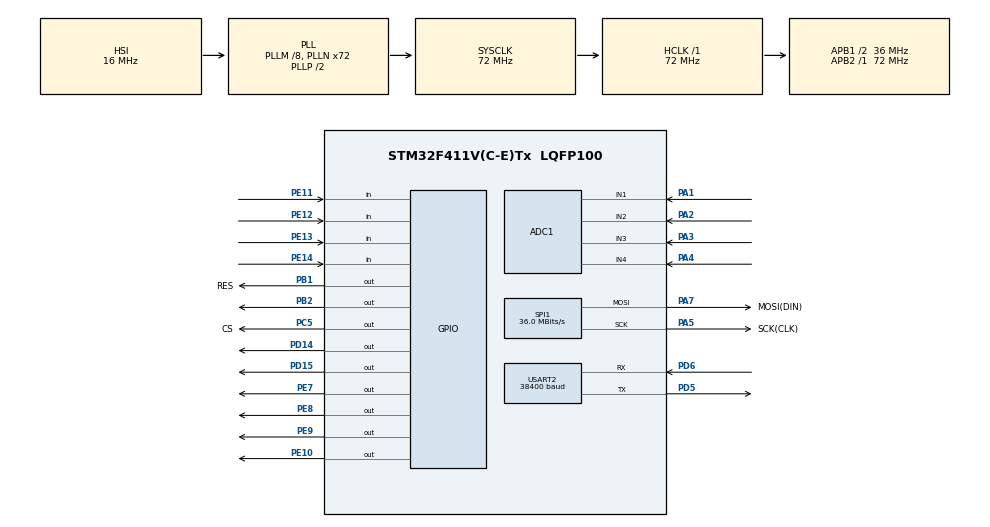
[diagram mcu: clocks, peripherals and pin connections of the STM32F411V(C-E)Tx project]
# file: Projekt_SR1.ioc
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ADC1.Channel-0\#ChannelRegularConversion=ADC_CHANNEL_1
ADC1.Channel-1\#ChannelRegularConversion=ADC_CHANNEL_2
ADC1.Channel-2\#ChannelRegularConversion=ADC_CHANNEL_3
ADC1.Channel-3\#ChannelRegularConversion=ADC_CHANNEL_4
ADC1.ClockPrescaler=ADC_CLOCK_SYNC_PCLK_DIV8
ADC1.ContinuousConvMode=ENABLE
ADC1.DMAContinuousRequests=ENABLE
ADC1.NbrOfConversion=4
ADC1.NbrOfConversionFlag=1
ADC1.Rank-0\#ChannelRegularConversion=1
ADC1.Rank-1\#ChannelRegularConversion=2
ADC1.Rank-2\#ChannelRegularConversion=3
ADC1.Rank-3\#ChannelRegularConversion=4
ADC1.SamplingTime-0\#ChannelRegularConversion=ADC_SAMPLETIME_480CYCLES
ADC1.SamplingTime-1\#ChannelRegularConversion=ADC_SAMPLETIME_480CYCLES
ADC1.SamplingTime-2\#ChannelRegularConversion=ADC_SAMPLETIME_480CYCLES
ADC1.SamplingTime-3\#ChannelRegularConversion=ADC_SAMPLETIME_480CYCLES
ADC1.ScanConvMode=ENABLE
ADC1.master=1
Dma.ADC1.0.Direction=DMA_PERIPH_TO_MEMORY
Dma.ADC1.0.FIFOMode=DMA_FIFOMODE_DISABLE
Dma.ADC1.0.Instance=DMA2_Stream0
Dma.ADC1.0.MemDataAlignment=DMA_MDATAALIGN_HALFWORD
Dma.ADC1.0.MemInc=DMA_MINC_ENABLE
Dma.ADC1.0.Mode=DMA_CIRCULAR
Dma.ADC1.0.PeriphDataAlignment=DMA_PDATAALIGN_HALFWORD
Dma.ADC1.0.PeriphInc=DMA_PINC_DISABLE
Dma.ADC1.0.Priority=DMA_PRIORITY_LOW
Dma.Request0=ADC1
Mcu.Family=STM32F4
Mcu.Name=STM32F411V(C-E)Tx
Mcu.Package=LQFP100
NVIC.DMA2_Stream0_IRQn=true\:0\:0\:false\:false\:true\:false\:true
NVIC.PriorityGroup=NVIC_PRIORITYGROUP_4
NVIC.TIM2_IRQn=true\:0\:0\:false\:false\:true\:true\:true
NVIC.TIM3_IRQn=true\:0\:0\:false\:false\:true\:true\:true
NVIC.USART2_IRQn=true\:0\:0\:false\:false\:true\:true\:true
PA1.Signal=ADCx_IN1
PA2.Signal=ADCx_IN2
PA3.Signal=ADCx_IN3
PA4.Signal=ADCx_IN4
PA5.GPIO_Label=SCK(CLK)
PA5.Mode=TX_Only_Simplex_Unidirect_Master
PA5.Signal=SPI1_SCK
PA7.GPIO_Label=MOSI(DIN)
PA7.Mode=TX_Only_Simplex_Unidirect_Master
PA7.Signal=SPI1_MOSI
PB1.GPIO_Label=RES
PB1.Signal=GPIO_Output
PB2.Signal=GPIO_Output
PC5.GPIO_Label=CS
PC5.Signal=GPIO_Output
PD14.Signal=GPIO_Output
PD15.Signal=GPIO_Output
PD5.Mode=Asynchronous
PD5.Signal=USART2_TX
PD6.Mode=Asynchronous
PD6.Signal=USART2_RX
PE10.GPIO_PuPd=GPIO_NOPULL
PE10.Signal=GPIO_Output
PE11.GPIO_PuPd=GPIO_PULLDOWN
PE11.Signal=GPIO_Input
PE12.GPIO_PuPd=GPIO_PULLDOWN
PE12.Signal=GPIO_Input
PE13.GPIO_PuPd=GPIO_PULLDOWN
PE13.Signal=GPIO_Input
PE14.GPIO_PuPd=GPIO_PULLDOWN
PE14.Signal=GPIO_Input
PE7.Signal=GPIO_Output
PE8.Signal=GPIO_Output
PE9.Signal=GPIO_Output
ProjectManager.HeapSize=0x200
ProjectManager.StackSize=0x400
ProjectManager.TargetToolchain=STM32CubeIDE
RCC.48MHZClocksFreq_Value=36000000
RCC.AHBFreq_Value=72000000
RCC.APB1CLKDivider=RCC_HCLK_DIV2
RCC.APB1Freq_Value=36000000
RCC.APB1TimFreq_Value=72000000
RCC.APB2Freq_Value=72000000
RCC.APB2TimFreq_Value=72000000
RCC.CortexFreq_Value=72000000
RCC.HCLKFreq_Value=72000000
RCC.HSE_VALUE=25000000
RCC.HSI_VALUE=16000000
RCC.LSE_VALUE=32768
RCC.PLLM=8
RCC.PLLN=72
RCC.SYSCLKFreq_VALUE=72000000
RCC.SYSCLKSource=RCC_SYSCLKSOURCE_PLLCLK
RCC.VCOOutputFreq_Value=144000000
SH.ADCx_IN1.0=ADC1_IN1,IN1
SH.ADCx_IN2.0=ADC1_IN2,IN2
SH.ADCx_IN3.0=ADC1_IN3,IN3
SH.ADCx_IN4.0=ADC1_IN4,IN4
SPI1.CalculateBaudRate=36.0 MBits/s
SPI1.Direction=SPI_DIRECTION_2LINES
SPI1.Mode=SPI_MODE_MASTER
SPI1.VirtualType=VM_MASTER
TIM2.Period=4999
TIM2.Prescaler=7199
TIM3.Period=7999
TIM3.Prescaler=7199
USART2.BaudRate=38400
USART2.VirtualMode=VM_ASYNC
VP_TIM2_VS_ClockSourceINT.Mode=Internal
VP_TIM3_VS_ClockSourceINT.Mode=Internal
board=custom

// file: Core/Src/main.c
/* USER CODE BEGIN Header */
/**
  ******************************************************************************
  * @file           : main.c
  * @brief          : Main program body
  ******************************************************************************
  * @attention
  *
  * <h2><center>&copy; Copyright (c) 2021 STMicroelectronics.
  * All rights reserved.</center></h2>
  *
  * This software component is licensed by ST under BSD 3-Clause license,
  * the "License"; You may not use this file except in compliance with the
  * License. You may obtain a copy of the License at:
  *                        opensource.org/licenses/BSD-3-Clause
  *
  ******************************************************************************
  */
/* USER CODE END Header */
#include "main.h"
#include "adc.h"
#include "dma.h"
#include "spi.h"
#include "tim.h"
#include "usart.h"
#include "gpio.h"

/* USER CODE BEGIN Includes */
#include <stdio.h>
#include <stdlib.h>
#include <Joystick.h>

#include "matrix_lib.h"
#include "Joystick.h"
#include "MY_FLASH.h"
#include "drawMenu.h"

/* USER CODE END Includes */

/* USER CODE BEGIN PTD */

/*move(uint8_t xCoord, uint8_t  yCoord)
{
	uint8_t angleRot;

	if(yCoord > yPos)
		angleRot = 0;
	if(yCoord < yPos)
		angleRot = 180;

	rotate(angleRot);
	drive(abs(yPos - yCoord));

	if(xCoord > xPos)
		angleRot = 270;
	if(xCoord < xPos)
		angleRot = 90;

	rotate(angleRot);
	drive(abs(xPos - xCoord));
}

drive(uint8_t distance)
{
	while(done <= distance)
	{

	}

}

*/

/* USER CODE END PTD */

/* USER CODE BEGIN PV */
uint8_t Received[21];
uint8_t testinkr = 0;
DMA_HandleTypeDef hdma_spi1_tx;
joystick joy;
int y_rect = 4, flagaTIM3;
int rectMode, toggle;
char buffer[100];//!!50
char buffer_test[50];
uint8_t Data[3];
joystick joy;

/* USER CODE END PV */

void SystemClock_Config(void);

/* USER CODE BEGIN 0 */
int _write(int file, char *ptr, int len) {
	HAL_UART_Transmit(&huart2, (uint8_t*)ptr, len, 50);
	return len;
}

void parse_ReceivedData()
{
	uint8_t id;
	int x = 0;
	char delim[] = ",";

	char *ptr = strtok(Received, delim);
	id = *ptr;

	if (id == 'c')
	{
		while (ptr != NULL)
		{
			ptr = strtok(NULL, delim);
			Data[x++] = atof(ptr);
		}

		for(int i=0;i<50;i++) Received[i] = NULL;
	}
}

void manualMode()
{
	uint8_t dirL, dirR;
	rectMode = 0;
	drawManualMode();
	 y_rect = 19;

	while(matrix_ReadKey() != 4)
	{
		if(matrix_ReadKey()== 3)
			y_rect = 19;

		if(matrix_ReadKey()==7)
			y_rect = 30;

		joystick_Control(&joy);

		if(y_rect == 30)
		{
			if(flagaTIM3)
			{
				sprintf(buffer,"r,%d,%d,%d,000000000\r", joy.sendJoy[0], joy.sendJoy[1], joy.sendJoy[3]);
				HAL_UART_Transmit(&huart2, buffer, strlen(buffer), 10);

				flagaTIM3 = 0 ;
			}
		}

		if(y_rect == 19)
		{
			if(flagaTIM3)
			{
				if(joy.sendJoy[1] < 4300) dirL = 1;
				else if(joy.sendJoy[1] > 4900) dirL = 2;
				else dirL = 0;

				if(joy.sendJoy[3] < 4300) dirR = 2;
				else if(joy.sendJoy[3] > 4900) dirR = 1;
				else dirR = 0;

				sprintf(buffer,"t,%i,%i,00000000000000000000\r", dirL, dirR);
				HAL_UART_Transmit(&huart2, buffer, strlen(buffer), 10);

				flagaTIM3 = 0 ;
			}
		}
	}
	drawMenu();
	rectMode = 0;
}

void seqMode()
{
	while(matrix_ReadKey()!= 4)
	{
		rectMode = 2;
		drawSeqMode(0);

		y_rect = 16;
		int chooseSeqMode;
		int seqCnt = 1;
		int seqNum;

		while(matrix_ReadKey()!= 4)
		{
			uint8_t coordX[6] = "";
			uint8_t coordY[6] = "";
			uint8_t coordZ[6] = "";

			int xRectCoord = 16;
			int yRectCoord = 16;
			int i = 0;
			int save = 0;

			if(matrix_ReadKey()== 3)
				 y_rect = 16;

			if(matrix_ReadKey()==7)
				 y_rect = 27;

			if (matrix_ReadKey() == 16)
			{
				if (y_rect == 16)
				{
					chooseSeqMode = 1;
				}

				else if (y_rect == 27)
				{
					chooseSeqMode = 2;
				}
			}

			if(chooseSeqMode == 1)
			{
				drawSeqMode(1);
				rectMode = 3;

				ssd1331_display_num(2, 37, seqCnt, 1, FONT_1206, BLUE);

				//X Coord
				while(matrix_ReadKey()!= 4)
				{
					if(i<6)
					{
						if(matrix_ReadKey() == 13) {coordX[i] = '.'; i++; ssd1331_fill_rect(xRectCoord, yRectCoord,6,10,BLACK);}
						if(matrix_ReadKey() == 3)  {coordX[i] = '1'; i++; ssd1331_fill_rect(xRectCoord, yRectCoord,6,10,BLACK);}
						if(matrix_ReadKey() == 7)  {coordX[i] = '2'; i++; ssd1331_fill_rect(xRectCoord, yRectCoord,6,10,BLACK);}
						if(matrix_ReadKey() == 11) {coordX[i] = '3'; i++; ssd1331_fill_rect(xRectCoord, yRectCoord,6,10,BLACK);}
						if(matrix_ReadKey() == 2)  {coordX[i] = '4'; i++; ssd1331_fill_rect(xRectCoord, yRectCoord,6,10,BLACK);}
						if(matrix_ReadKey() == 6)  {coordX[i] = '5'; i++; ssd1331_fill_rect(xRectCoord, yRectCoord,6,10,BLACK);}
						if(matrix_ReadKey() == 10) {coordX[i] = '6'; i++; ssd1331_fill_rect(xRectCoord, yRectCoord,6,10,BLACK);}
						if(matrix_ReadKey() == 1)  {coordX[i] = '7'; i++; ssd1331_fill_rect(xRectCoord, yRectCoord,6,10,BLACK);}
						if(matrix_ReadKey() == 5)  {coordX[i] = '8'; i++; ssd1331_fill_rect(xRectCoord, yRectCoord,6,10,BLACK);}
						if(matrix_ReadKey() == 9)  {coordX[i] = '9'; i++; ssd1331_fill_rect(xRectCoord, yRectCoord,6,10,BLACK);}
						if(matrix_ReadKey() == 14) {coordX[i] = '0'; i++; ssd1331_fill_rect(xRectCoord, yRectCoord,6,10,BLACK);}
						if(matrix_ReadKey() == 15) {coordX[i] = '-'; i++; ssd1331_fill_rect(xRectCoord, yRectCoord,6,10,BLACK);}
					}

					if(matrix_ReadKey() == 8){i--; coordX[i] = ' '; ssd1331_fill_rect(16,15,36,12,BLACK);}

					xRectCoord = i*6 + 16;
					ssd1331_display_string(16, 15, coordX, FONT_1206, GREEN);

					if (i <= 5) ssd1331_fill_rect(xRectCoord, yRectCoord,6,10,WHITE);

					if(matrix_ReadKey() == 12)
					{
						if (i <= 5) ssd1331_fill_rect(xRectCoord, yRectCoord,6,10,BLACK);

						for(;i< 6 ; i++) {coordX[i] = '0';}

						i = 0;
						break;
					}
				}

				//Y Coord
				xRectCoord = 64,
				yRectCoord = 16;

				while(matrix_ReadKey()!= 4)
				{
					if(i<6)
					{
						if(matrix_ReadKey() == 13) {coordY[i] = '.'; i++; ssd1331_fill_rect(xRectCoord, yRectCoord,6,10,BLACK);}
						if(matrix_ReadKey() == 3)  {coordY[i] = '1'; i++; ssd1331_fill_rect(xRectCoord, yRectCoord,6,10,BLACK);}
						if(matrix_ReadKey() == 7)  {coordY[i] = '2'; i++; ssd1331_fill_rect(xRectCoord, yRectCoord,6,10,BLACK);}
						if(matrix_ReadKey() == 11) {coordY[i] = '3'; i++; ssd1331_fill_rect(xRectCoord, yRectCoord,6,10,BLACK);}
						if(matrix_ReadKey() == 2)  {coordY[i] = '4'; i++; ssd1331_fill_rect(xRectCoord, yRectCoord,6,10,BLACK);}
						if(matrix_ReadKey() == 6)  {coordY[i] = '5'; i++; ssd1331_fill_rect(xRectCoord, yRectCoord,6,10,BLACK);}
						if(matrix_ReadKey() == 10) {coordY[i] = '6'; i++; ssd1331_fill_rect(xRectCoord, yRectCoord,6,10,BLACK);}
						if(matrix_ReadKey() == 1)  {coordY[i] = '7'; i++; ssd1331_fill_rect(xRectCoord, yRectCoord,6,10,BLACK);}
						if(matrix_ReadKey() == 5)  {coordY[i] = '8'; i++; ssd1331_fill_rect(xRectCoord, yRectCoord,6,10,BLACK);}
						if(matrix_ReadKey() == 9)  {coordY[i] = '9'; i++; ssd1331_fill_rect(xRectCoord, yRectCoord,6,10,BLACK);}
						if(matrix_ReadKey() == 14) {coordY[i] = '0'; i++; ssd1331_fill_rect(xRectCoord, yRectCoord,6,10,BLACK);}
						if(matrix_ReadKey() == 15) {coordY[i] = '-'; i++; ssd1331_fill_rect(xRectCoord, yRectCoord,6,10,BLACK);}
					}

					if(matrix_ReadKey() == 8){i--; coordY[i] = ' '; ssd1331_fill_rect(64,15,36,12,BLACK);}

					xRectCoord = i*6 + 64;
					ssd1331_display_string(64, 15, coordY, FONT_1206, GREEN);

					if (i <= 5) ssd1331_fill_rect(xRectCoord, yRectCoord,6,10,WHITE);

					if(matrix_ReadKey() == 12)
					{
						if (i <= 5) ssd1331_fill_rect(xRectCoord, yRectCoord,6,10,BLACK);

						for(;i< 5 ; i++) {coordY[i] = '0';}

						i = 0;
						break;
					}
				}

				//Z Coord
				xRectCoord = 42;
				yRectCoord = 27;

				while(matrix_ReadKey()!= 4)
				{
					if(i<6)
					{
						if(matrix_ReadKey() == 13) {coordZ[i] = '.'; i++; ssd1331_fill_rect(xRectCoord, yRectCoord,6,10,BLACK);}
						if(matrix_ReadKey() == 3)  {coordZ[i] = '1'; i++; ssd1331_fill_rect(xRectCoord, yRectCoord,6,10,BLACK);}
						if(matrix_ReadKey() == 7)  {coordZ[i] = '2'; i++; ssd1331_fill_rect(xRectCoord, yRectCoord,6,10,BLACK);}
						if(matrix_ReadKey() == 11) {coordZ[i] = '3'; i++; ssd1331_fill_rect(xRectCoord, yRectCoord,6,10,BLACK);}
						if(matrix_ReadKey() == 2)  {coordZ[i] = '4'; i++; ssd1331_fill_rect(xRectCoord, yRectCoord,6,10,BLACK);}
						if(matrix_ReadKey() == 6)  {coordZ[i] = '5'; i++; ssd1331_fill_rect(xRectCoord, yRectCoord,6,10,BLACK);}
						if(matrix_ReadKey() == 10) {coordZ[i] = '6'; i++; ssd1331_fill_rect(xRectCoord, yRectCoord,6,10,BLACK);}
						if(matrix_ReadKey() == 1)  {coordZ[i] = '7'; i++; ssd1331_fill_rect(xRectCoord, yRectCoord,6,10,BLACK);}
						if(matrix_ReadKey() == 5)  {coordZ[i] = '8'; i++; ssd1331_fill_rect(xRectCoord, yRectCoord,6,10,BLACK);}
						if(matrix_ReadKey() == 9)  {coordZ[i] = '9'; i++; ssd1331_fill_rect(xRectCoord, yRectCoord,6,10,BLACK);}
						if(matrix_ReadKey() == 14) {coordZ[i] = '0'; i++; ssd1331_fill_rect(xRectCoord, yRectCoord,6,10,BLACK);}
						if(matrix_ReadKey() == 15) {coordZ[i] = '-'; i++; ssd1331_fill_rect(xRectCoord, yRectCoord,6,10,BLACK);}
					}

					if(matrix_ReadKey() == 8){	i--; coordZ[i] = ' '; ssd1331_fill_rect(42,27,36,12,BLACK); }

					xRectCoord = i*6 + 42;

					ssd1331_display_string(42, 27, coordZ, FONT_1206, GREEN);
					if (i <= 6) ssd1331_fill_rect(xRectCoord, yRectCoord,6,10,WHITE);

					//NEXT
					if(matrix_ReadKey() == 12)
					{
						ssd1331_fill_rect(xRectCoord, yRectCoord,6,10,BLACK);

						for(;i< 6 ; i++) {coordZ[i] = '0';}

						sprintf(buffer_test,"n,%s,%s,%s,00000", coordX, coordY, coordZ);
						HAL_UART_Transmit(&huart2, buffer_test, strlen(buffer), 10);

						ssd1331_fill_rect(16,15,36,12,BLACK);
						ssd1331_fill_rect(64,15,36,12,BLACK);
						ssd1331_fill_rect(42,27,36,12,BLACK);
						ssd1331_fill_rect(1,39,7,9,BLACK);

						seqCnt++;

						break;
					}

					//Save
					if(matrix_ReadKey() == 16)
					{
						save = 1;

						for(;i< 6 ; i++) {coordZ[i] = '0';}

						sprintf(buffer,"n,%s,%s,%s,%i,00\r", coordX, coordY,coordZ, seqCnt);
						HAL_UART_Transmit(&huart2, buffer, strlen((char*)buffer), 10);

					/*	for(int i = 0; i <6 ; 1++)
						{
							coordX[i] = flashData[i];
							coordY[i] = flashData[6+i];
							coordZ[i] = flashData[12+i];
						}

						float x = stoi(coordX);
						*/

						break;
					}
				}
				if(save) break;
			}

			if(chooseSeqMode == 2)
			{
				drawSeqMode(2);
				y_rect = 16;

				while(matrix_ReadKey()!= 4)
				{
					if(matrix_ReadKey()== 3)
						 y_rect = 16;

					if(matrix_ReadKey()==7)
						 y_rect = 27;

					if(matrix_ReadKey()==11)
						 y_rect = 38;

					if (matrix_ReadKey() == 16)
					{
						if (y_rect == 16)
						{
							sprintf(buffer,"p,1,0000000000000000000000");
							HAL_UART_Transmit(&huart2, buffer, strlen((char*)buffer), 10);
						}

						else if (y_rect == 27)
						{
							sprintf(buffer,"p,2,0000000000000000000000");
							HAL_UART_Transmit(&huart2, buffer, strlen((char*)buffer), 10);
						}

						else if (y_rect == 38)
						{
							sprintf(buffer,"p,3,0000000000000000000000");
							HAL_UART_Transmit(&huart2, buffer, strlen((char*) buffer), 10);
						}
					}
				}
			}
		}
	}
	drawMenu();
}

void coordMode()
{
	rectMode = 2;
	drawCoordMode(0);

	y_rect = 16;
	int chooseSeqMode = 0;

	while(matrix_ReadKey()!= 4)
	{
		uint8_t coordX[6] = "";
		uint8_t coordY[6] = "";
		uint8_t coordZ[6] = "";

		int xRectCoord = 16;
		int yRectCoord = 16;
		int i = 0;
		int new = 0;

		if(matrix_ReadKey()== 3)
			y_rect = 16;

		if(matrix_ReadKey()==7)
			y_rect = 27;

		if (matrix_ReadKey() == 16)
		{
			if (y_rect == 16)
			{
				chooseSeqMode = 1;
			}

			else if (y_rect == 27)
			{
				chooseSeqMode = 2;
			}
		}

		if(chooseSeqMode != 0)
		{
			drawCoordMode(1);
			rectMode = 3;

			//X Coord
			while(matrix_ReadKey()!= 4)
			{
				if(i<6)
				{
					if(matrix_ReadKey() == 13) {coordX[i] = '.'; i++; ssd1331_fill_rect(xRectCoord, yRectCoord,6,10,BLACK);}
					if(matrix_ReadKey() == 3)  {coordX[i] = '1'; i++; ssd1331_fill_rect(xRectCoord, yRectCoord,6,10,BLACK);}
					if(matrix_ReadKey() == 7)  {coordX[i] = '2'; i++; ssd1331_fill_rect(xRectCoord, yRectCoord,6,10,BLACK);}
					if(matrix_ReadKey() == 11) {coordX[i] = '3'; i++; ssd1331_fill_rect(xRectCoord, yRectCoord,6,10,BLACK);}
					if(matrix_ReadKey() == 2)  {coordX[i] = '4'; i++; ssd1331_fill_rect(xRectCoord, yRectCoord,6,10,BLACK);}
					if(matrix_ReadKey() == 6)  {coordX[i] = '5'; i++; ssd1331_fill_rect(xRectCoord, yRectCoord,6,10,BLACK);}
					if(matrix_ReadKey() == 10) {coordX[i] = '6'; i++; ssd1331_fill_rect(xRectCoord, yRectCoord,6,10,BLACK);}
					if(matrix_ReadKey() == 1)  {coordX[i] = '7'; i++; ssd1331_fill_rect(xRectCoord, yRectCoord,6,10,BLACK);}
					if(matrix_ReadKey() == 5)  {coordX[i] = '8'; i++; ssd1331_fill_rect(xRectCoord, yRectCoord,6,10,BLACK);}
					if(matrix_ReadKey() == 9)  {coordX[i] = '9'; i++; ssd1331_fill_rect(xRectCoord, yRectCoord,6,10,BLACK);}
					if(matrix_ReadKey() == 14) {coordX[i] = '0'; i++; ssd1331_fill_rect(xRectCoord, yRectCoord,6,10,BLACK);}
					if(matrix_ReadKey() == 15) {coordX[i] = '-'; i++; ssd1331_fill_rect(xRectCoord, yRectCoord,6,10,BLACK);}
				}

				if(matrix_ReadKey() == 8){i--; coordX[i] = ' '; ssd1331_fill_rect(16,15,36,12,BLACK);}

				xRectCoord = i*6 + 16;
				ssd1331_display_string(16, 15, coordX, FONT_1206, GREEN);

				if (i <= 5) ssd1331_fill_rect(xRectCoord, yRectCoord,6,10,WHITE);

				if(matrix_ReadKey() == 12)
				{
					if (i <= 5) ssd1331_fill_rect(xRectCoord, yRectCoord,6,10,BLACK);

					for(;i< 5 ; i++) {coordX[i] = '0';}

					i = 0;
					break;
				}

				if(matrix_ReadKey() == 16)
				{
					new = 1;
					break;
				}
			}

			//Y Coord
			xRectCoord = 64,
			yRectCoord = 16;

			while(matrix_ReadKey()!= 4)
			{
				if(i<6)
				{
					if(matrix_ReadKey() == 13) {coordY[i] = '.'; i++; ssd1331_fill_rect(xRectCoord, yRectCoord,6,10,BLACK);}
					if(matrix_ReadKey() == 3)  {coordY[i] = '1'; i++; ssd1331_fill_rect(xRectCoord, yRectCoord,6,10,BLACK);}
					if(matrix_ReadKey() == 7)  {coordY[i] = '2'; i++; ssd1331_fill_rect(xRectCoord, yRectCoord,6,10,BLACK);}
					if(matrix_ReadKey() == 11) {coordY[i] = '3'; i++; ssd1331_fill_rect(xRectCoord, yRectCoord,6,10,BLACK);}
					if(matrix_ReadKey() == 2)  {coordY[i] = '4'; i++; ssd1331_fill_rect(xRectCoord, yRectCoord,6,10,BLACK);}
					if(matrix_ReadKey() == 6)  {coordY[i] = '5'; i++; ssd1331_fill_rect(xRectCoord, yRectCoord,6,10,BLACK);}
					if(matrix_ReadKey() == 10) {coordY[i] = '6'; i++; ssd1331_fill_rect(xRectCoord, yRectCoord,6,10,BLACK);}
					if(matrix_ReadKey() == 1)  {coordY[i] = '7'; i++; ssd1331_fill_rect(xRectCoord, yRectCoord,6,10,BLACK);}
					if(matrix_ReadKey() == 5)  {coordY[i] = '8'; i++; ssd1331_fill_rect(xRectCoord, yRectCoord,6,10,BLACK);}
					if(matrix_ReadKey() == 9)  {coordY[i] = '9'; i++; ssd1331_fill_rect(xRectCoord, yRectCoord,6,10,BLACK);}
					if(matrix_ReadKey() == 14) {coordY[i] = '0'; i++; ssd1331_fill_rect(xRectCoord, yRectCoord,6,10,BLACK);}
					if(matrix_ReadKey() == 15) {coordY[i] = '-'; i++; ssd1331_fill_rect(xRectCoord, yRectCoord,6,10,BLACK);}
				}

				if(matrix_ReadKey() == 8)  {i--; coordY[i] = ' '; ssd1331_fill_rect(64,15,36,12,BLACK); }

				xRectCoord = i*6 + 64;

				ssd1331_display_string(64, 15, coordY, FONT_1206, GREEN);
				if (i <= 5) ssd1331_fill_rect(xRectCoord, yRectCoord,6,10,WHITE);

				if(matrix_ReadKey() == 12)
				{
					if (i <= 5) ssd1331_fill_rect(xRectCoord, yRectCoord,6,10,BLACK);

					for(;i< 5 ; i++) {coordY[i] = '0';}

					i = 0;
					break;
				}

				if(matrix_ReadKey() == 16 || new)
				{
					new = 1;
					break;
				}
			}

			//Z Coord
			xRectCoord = 42;
			yRectCoord = 27;

			while(matrix_ReadKey()!= 4)
			{
				if(i<6)
				{
					if(matrix_ReadKey() == 13) {coordZ[i] = '.'; i++; ssd1331_fill_rect(xRectCoord, yRectCoord,6,10,BLACK);}
					if(matrix_ReadKey() == 3)  {coordZ[i] = '1'; i++; ssd1331_fill_rect(xRectCoord, yRectCoord,6,10,BLACK);}
					if(matrix_ReadKey() == 7)  {coordZ[i] = '2'; i++; ssd1331_fill_rect(xRectCoord, yRectCoord,6,10,BLACK);}
					if(matrix_ReadKey() == 11) {coordZ[i] = '3'; i++; ssd1331_fill_rect(xRectCoord, yRectCoord,6,10,BLACK);}
					if(matrix_ReadKey() == 2)  {coordZ[i] = '4'; i++; ssd1331_fill_rect(xRectCoord, yRectCoord,6,10,BLACK);}
					if(matrix_ReadKey() == 6)  {coordZ[i] = '5'; i++; ssd1331_fill_rect(xRectCoord, yRectCoord,6,10,BLACK);}
					if(matrix_ReadKey() == 10) {coordZ[i] = '6'; i++; ssd1331_fill_rect(xRectCoord, yRectCoord,6,10,BLACK);}
					if(matrix_ReadKey() == 1)  {coordZ[i] = '7'; i++; ssd1331_fill_rect(xRectCoord, yRectCoord,6,10,BLACK);}
					if(matrix_ReadKey() == 5)  {coordZ[i] = '8'; i++; ssd1331_fill_rect(xRectCoord, yRectCoord,6,10,BLACK);}
					if(matrix_ReadKey() == 9)  {coordZ[i] = '9'; i++; ssd1331_fill_rect(xRectCoord, yRectCoord,6,10,BLACK);}
					if(matrix_ReadKey() == 14) {coordZ[i] = '0'; i++; ssd1331_fill_rect(xRectCoord, yRectCoord,6,10,BLACK);}
					if(matrix_ReadKey() == 15) {coordZ[i] = '-'; i++; ssd1331_fill_rect(xRectCoord, yRectCoord,6,10,BLACK);}
				}

				if(matrix_ReadKey() == 8){	i--; coordZ[i] = ' '; ssd1331_fill_rect(42,27,36,12,BLACK); }

				xRectCoord = i*6 + 42;

				ssd1331_display_string(42, 27, coordZ, FONT_1206, GREEN);
				if (i <= 5) ssd1331_fill_rect(xRectCoord, yRectCoord,6,10,WHITE);

				//NEXT
				if(matrix_ReadKey() == 12)
				{
					ssd1331_fill_rect(xRectCoord, yRectCoord,6,10,BLACK);

					for(;i< 5 ; i++) {coordZ[i] = '0';}

					if(chooseSeqMode == 1)
						//sprintf(buffer,"c,%s,%s,%s,0000", coordX, coordY,coordZ);
						sprintf(buffer,"c,%s,%s,%s,0000000",coordX,coordY, coordZ);
					if(chooseSeqMode == 2)
						sprintf(buffer,"w,%s,%s,%s,0000000", coordX, coordY,coordZ);
					HAL_UART_Transmit(&huart2, buffer, strlen((char*) buffer), 10);
				}

				//NEW
				if(matrix_ReadKey() == 16 || new)
				{
					ssd1331_fill_rect(16,15,36,12,BLACK);
					ssd1331_fill_rect(64,15,36,12,BLACK);
					ssd1331_fill_rect(42,27,42,12,BLACK);
					break;
				}
			}
		}
	}
	drawMenu();
}

/* USER CODE END 0 */

int main(void)
{

  /* MCU Configuration--------------------------------------------------------*/

  /* Reset of all peripherals, Initializes the Flash interface and the Systick. */
  HAL_Init();

  /* Configure the system clock */
  SystemClock_Config();

  /* Initialize all configured peripherals */
  MX_GPIO_Init();
  MX_DMA_Init();
  MX_USART2_UART_Init();
  MX_ADC1_Init();
  MX_SPI1_Init();
  MX_TIM2_Init();
  MX_TIM3_Init();
  /* USER CODE BEGIN 2 */
  HAL_UART_Receive_IT(&huart2, &Received, 21);
  //HAL_TIM_Base_Start(&htim11);
  HAL_TIM_Base_Start_IT(&htim2);
  HAL_TIM_Base_Start_IT(&htim3);

  joystick_Start(&hadc1, &joy);

  ssd1331_init(); //Inicjalizacja wyświetlacza OLED
  ssd1331_clear_screen(BLACK); //Ustawianie tła wyświetlacza
  drawMenu();

  /* USER CODE END 2 */

  /* Infinite loop */
  /* USER CODE BEGIN WHILE */
  while (1)
  {
	  rectMode = 0;

		if (matrix_ReadKey() == 16)
		{
			if (y_rect == 4)
				manualMode();

			else if (y_rect == 15)
				seqMode();

			else if (y_rect == 26)
				coordMode();

			y_rect = 4;
		}

	 if(matrix_ReadKey()== 3)
	 {
		 y_rect = 4;
	 }
	 if(matrix_ReadKey()==7)
	 {
		 y_rect = 15;
	 }
	 if(matrix_ReadKey()==11)
	 {
		 y_rect = 26;
	 }

    /* USER CODE END WHILE */

  }
}

void SystemClock_Config(void)
{
  RCC_OscInitTypeDef RCC_OscInitStruct = {0};
  RCC_ClkInitTypeDef RCC_ClkInitStruct = {0};

  /** Configure the main internal regulator output voltage
  */
  __HAL_RCC_PWR_CLK_ENABLE();
  __HAL_PWR_VOLTAGESCALING_CONFIG(PWR_REGULATOR_VOLTAGE_SCALE1);
  /** Initializes the RCC Oscillators according to the specified parameters
  * in the RCC_OscInitTypeDef structure.
  */
  RCC_OscInitStruct.OscillatorType = RCC_OSCILLATORTYPE_HSI;
  RCC_OscInitStruct.HSIState = RCC_HSI_ON;
  RCC_OscInitStruct.HSICalibrationValue = RCC_HSICALIBRATION_DEFAULT;
  RCC_OscInitStruct.PLL.PLLState = RCC_PLL_ON;
  RCC_OscInitStruct.PLL.PLLSource = RCC_PLLSOURCE_HSI;
  RCC_OscInitStruct.PLL.PLLM = 8;
  RCC_OscInitStruct.PLL.PLLN = 72;
  RCC_OscInitStruct.PLL.PLLP = RCC_PLLP_DIV2;
  RCC_OscInitStruct.PLL.PLLQ = 4;
  if (HAL_RCC_OscConfig(&RCC_OscInitStruct) != HAL_OK)
  {
    Error_Handler();
  }
  /** Initializes the CPU, AHB and APB buses clocks
  */
  RCC_ClkInitStruct.ClockType = RCC_CLOCKTYPE_HCLK|RCC_CLOCKTYPE_SYSCLK
                              |RCC_CLOCKTYPE_PCLK1|RCC_CLOCKTYPE_PCLK2;
  RCC_ClkInitStruct.SYSCLKSource = RCC_SYSCLKSOURCE_PLLCLK;
  RCC_ClkInitStruct.AHBCLKDivider = RCC_SYSCLK_DIV1;
  RCC_ClkInitStruct.APB1CLKDivider = RCC_HCLK_DIV2;
  RCC_ClkInitStruct.APB2CLKDivider = RCC_HCLK_DIV1;

  if (HAL_RCC_ClockConfig(&RCC_ClkInitStruct, FLASH_LATENCY_2) != HAL_OK)
  {
    Error_Handler();
  }
}

/* USER CODE BEGIN 4 */
/*void HAL_UART_RxCpltCallback(UART_HandleTypeDef *huart)
{
	if(huart->Instance == USART2)
			//rec = 1;
}*/

void HAL_TIM_PeriodElapsedCallback(TIM_HandleTypeDef *htim)
{
	if(htim->Instance == TIM2)
	{
		HAL_GPIO_TogglePin(GPIOD, GPIO_PIN_15);

			if(toggle)
			{
				if(rectMode == 0 || rectMode == 2)
					ssd1331_fill_rect(0, y_rect, 4, 4, WHITE);

				toggle = 0;
			}

			else
			{
				if(rectMode == 0)
					ssd1331_fill_rect(0, 4, 4, 46, BLACK);

				if (rectMode == 2)
					ssd1331_fill_rect(0, 16,4,34,BLACK);

				toggle = 1;
			}
	}

	if(htim->Instance == TIM3)
	{
		flagaTIM3 = 1;
	}

}
/* USER CODE END 4 */

void Error_Handler(void)
{
}

/************************ (C) COPYRIGHT STMicroelectronics *****END OF FILE****/
